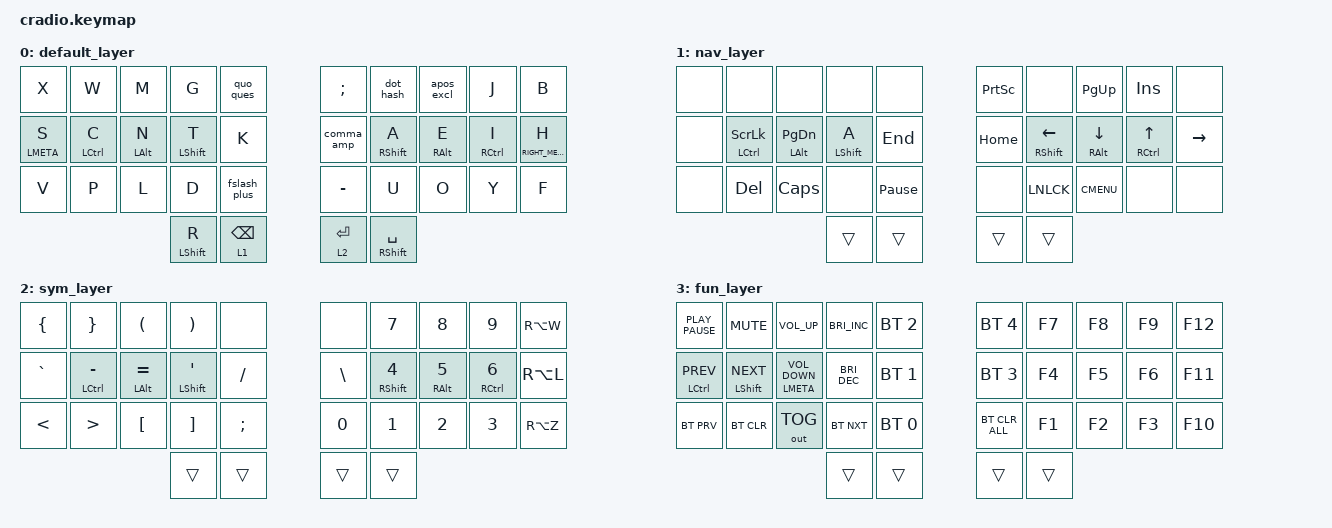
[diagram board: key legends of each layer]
/*
 * Copyright (c) 2020 The ZMK Contributors
 *
 * SPDX-License-Identifier: MIT
 */

#include <behaviors.dtsi>
#include <dt-bindings/zmk/bt.h>
#include <dt-bindings/zmk/keys.h>
#include <dt-bindings/zmk/outputs.h>

&mt {
    tapping-term-ms = <275>;
    quick_tap_ms = <200>;
};

&lt {
    tapping-term-ms = <275>;
    quick_tap_ms = <200>;
};

/ {
    behaviors {
        hm: homerow_mods {
            compatible = "zmk,behavior-hold-tap";
            label = "HOMEROW_MODS";
            #binding-cells = <2>;
            tapping-term-ms = <175>;
            quick_tap_ms = <150>;
            flavor = "tap-preferred";
            bindings = <&kp>, <&kp>;
        };

        lh: left_hand_positional_hold_tap {
            compatible = "zmk,behavior-hold-tap";
            label = "LEFT_POSITIONAL_HOLD_TAP";
            #binding-cells = <2>;
            flavor = "tap-unless-interrupted";
            tapping-term-ms = <175>;
            quick-tap-ms = <150>;
            bindings = <&kp>, <&kp>;

            hold-trigger-key-positions = <5 6 7 8 9>;
        };

        rh: right_hand_positional_hold_tap {
            compatible = "zmk,behavior-hold-tap";
            label = "RIGHT_POSITIONAL_HOLD_TAP";
            #binding-cells = <2>;
            flavor = "tap-unless-interrupted";
            tapping-term-ms = <175>;
            quick-tap-ms = <150>;
            bindings = <&kp>, <&kp>;

            hold-trigger-key-positions = <0 1 2 3 4>;
        };

        dot_hash: dot_hash {
            compatible = "zmk,behavior-mod-morph";
            label = "DOT_HASH";
            bindings = <&kp PERIOD>, <&kp HASH>;

            #binding-cells = <0>;
            mods = <(MOD_LSFT|MOD_RSFT)>;
        };

        comma_amp: comma_amp {
            compatible = "zmk,behavior-mod-morph";
            label = "COMMA_AMP";
            bindings = <&kp COMMA>, <&kp AT_SIGN>;

            #binding-cells = <0>;
            mods = <(MOD_LSFT|MOD_RSFT)>;
        };

        apos_excl: apos_excl {
            compatible = "zmk,behavior-mod-morph";
            label = "APOS_EXCL";
            bindings = <&kp SQT>, <&kp EXCLAMATION>;

            #binding-cells = <0>;
            mods = <(MOD_LSFT|MOD_RSFT)>;
        };

        quo_ques: quo_ques {
            compatible = "zmk,behavior-mod-morph";
            label = "QUO_QUES";
            bindings = <&kp DOUBLE_QUOTES>, <&kp QUESTION>;

            #binding-cells = <0>;
            mods = <(MOD_LSFT|MOD_RSFT)>;
        };

        fslash_plus: fslash_plus {
            compatible = "zmk,behavior-mod-morph";
            label = "FSLASH_PLUS";
            bindings = <&kp SLASH>, <&kp PLUS>;

            #binding-cells = <0>;
            mods = <(MOD_LSFT|MOD_RSFT)>;
        };
    };

    conditional_layers {
        compatible = "zmk,conditional-layers";

        fun_layer {
            if-layers = <1 2>;
            then-layer = <3>;
        };
    };

    combos {
        compatible = "zmk,combos";

        combo_capsword {
            bindings = <&caps_word>;
            key-positions = <30 33>;
            layers = <0>;
        };

        combo_z {
            bindings = <&kp Z>;
            key-positions = <1 0>;
            layers = <0>;
        };

        combo_q {
            bindings = <&kp Q>;
            key-positions = <1 2>;
            layers = <0>;
        };

        combo_esc {
            bindings = <&kp ESCAPE>;
            key-positions = <10 0>;
            layers = <1 2>;
        };
    };

    keymap {
        compatible = "zmk,keymap";

        default_layer {
            bindings = <
&kp X        &kp W        &kp M       &kp G         &quo_ques          &kp SEMICOLON  &dot_hash        &apos_excl       &kp J        &kp B
&lh LMETA S  &lh LCTRL C  &lh LALT N  &lh LSHIFT T  &kp K              &comma_amp     &lh RSHFT A      &lh RIGHT_ALT E  &lh RCTRL I  &rh RIGHT_META H
&kp V        &kp P        &kp L       &kp D         &fslash_plus       &kp MINUS      &kp U            &kp O            &kp Y        &kp F
                                      &mt LSHIFT R  &lt 1 BACKSPACE    &lt 2 ENTER    &mt RSHFT SPACE
            >;
        };

        nav_layer {
            bindings = <
&none  &none           &none           &none         &none              &kp PSCRN  &none           &kp PG_UP           &kp INS       &none
&none  &lh LCTRL SLCK  &lh LALT PG_DN  &lh LSHIFT A  &kp END            &kp HOME   &lh RSHFT LEFT  &lh RIGHT_ALT DOWN  &lh RCTRL UP  &kp RIGHT_ARROW
&none  &kp DEL         &kp CLCK        &none         &kp PAUSE_BREAK    &none      &kp LNLCK       &kp K_CMENU         &none         &none
                                       &trans        &trans             &trans     &trans
            >;
        };

        sym_layer {
            bindings = <
&kp LBRC   &kp RBRC         &kp LPAR            &kp RPAR         &none            &none          &kp N7         &kp N8            &kp N9        &kp RA(W)
&kp GRAVE  &lh LCTRL MINUS  &lh LEFT_ALT EQUAL  &lh LSHIFT APOS  &kp FSLH         &kp BACKSLASH  &rh RSHIFT N4  &rh RIGHT_ALT N5  &rh RCTRL N6  &kp RA(L)
&kp LT     &kp GT           &kp LBKT            &kp RBKT         &kp SEMICOLON    &kp N0         &kp N1         &kp N2            &kp N3        &kp RA(Z)
                                                &trans           &trans           &trans         &trans
            >;
        };

        fun_layer {
            bindings = <
&kp K_PLAY_PAUSE  &kp K_MUTE        &kp C_VOLUME_UP          &kp C_BRIGHTNESS_INC  &bt BT_SEL 2    &bt BT_SEL 4    &kp F7  &kp F8  &kp F9  &kp F12
&lh LCTRL K_PREV  &lh LSHFT K_NEXT  &lh LMETA K_VOLUME_DOWN  &kp C_BRIGHTNESS_DEC  &bt BT_SEL 1    &bt BT_SEL 3    &kp F4  &kp F5  &kp F6  &kp F11
&bt BT_PRV        &bt BT_CLR        &out OUT_TOG             &bt BT_NXT            &bt BT_SEL 0    &bt BT_CLR_ALL  &kp F1  &kp F2  &kp F3  &kp F10
                                                             &trans                &trans          &trans          &trans
            >;
        };
    };
};
